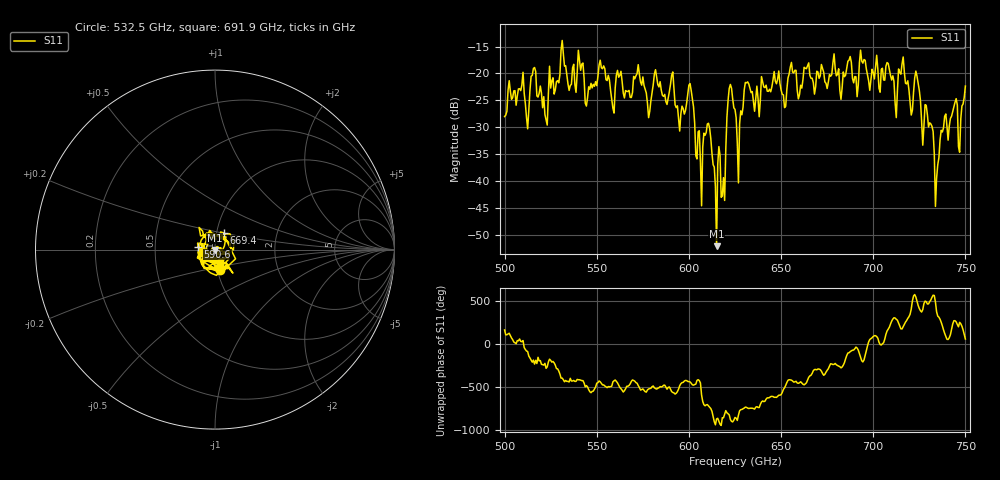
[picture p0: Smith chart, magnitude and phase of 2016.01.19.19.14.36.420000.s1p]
!Created with skrf (http://scikit-rf.org).
# GHz S RI R 50.0
!freq ReS11 ImS11
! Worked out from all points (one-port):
!   401 points, 500 GHz to 750 GHz, reference 50 ohm
!   lowest |S11| = -52.0 dB at 615 GHz (marker M1), VSWR 1.01, Z = 49.8 - j0.135 ohm
!   |S11| at or under -10 dB: start of sweep to end of sweep
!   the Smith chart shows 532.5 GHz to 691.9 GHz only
!   S11 on the Smith chart (normalised r, x): 532.5 GHz: 1.03, -0.24; 590.6 GHz: 0.83, +0.03; 669.4 GHz: 1.08, +0.20; 691.9 GHz: 1.05, -0.15
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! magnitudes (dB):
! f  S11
! 500 GHz  -28.0
! 508.8 GHz  -23.2
! 512.5 GHz  -30.3
! 515.6 GHz  -19.1
! 521.9 GHz  -27.6
! 531.2 GHz  -13.9
! 532.5 GHz  -18.6
! 545 GHz  -24.5
! 562.5 GHz  -20.4
! 590.6 GHz  -20.3
! 593.8 GHz  -26.0
! 600.6 GHz  -21.9
! 605.6 GHz  -30.6
! 610.6 GHz  -29.2
! 615 GHz  -52.0
! 618.8 GHz  -39.3
! 621.9 GHz  -22.8
! 625 GHz  -26.7
! 656.2 GHz  -19.7
! 669.4 GHz  -19.6
! 687.5 GHz  -16.9
! 691.9 GHz  -22.2
! 718.8 GHz  -21.4
! 723.8 GHz  -20.5
! 734.4 GHz  -39.4
! 738.1 GHz  -30.1
! 747.5 GHz  -28.4
! 750 GHz  -22.3
